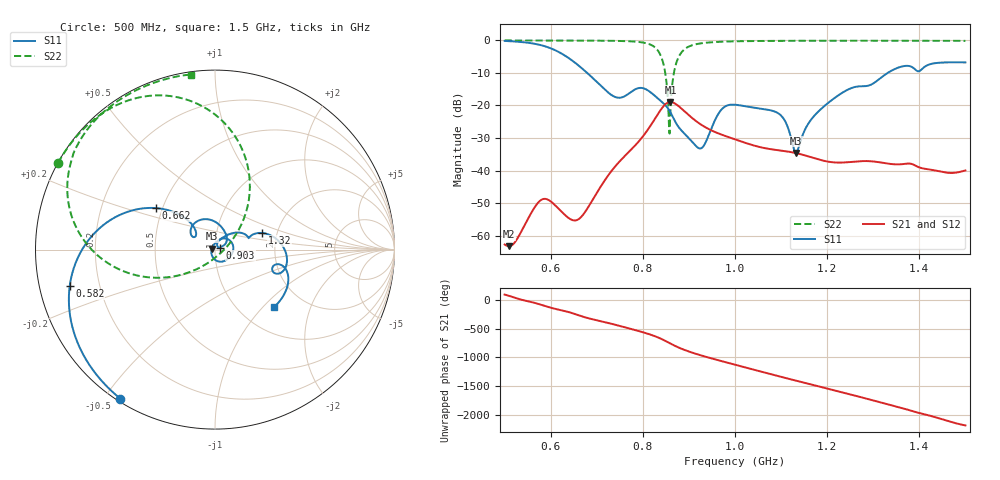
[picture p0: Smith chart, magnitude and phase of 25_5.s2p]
! TOUCHSTONE file generated by CST MICROWAVE STUDIO
! Date and time: Mon Oct 26 12:32:24 2020
! Project name: Scenario_1_Circular_Tissue_out_of_Line.cst
! Parameters = {dy1=70.184; L_HA=400; MT=2.54; Rad_Dielectric=30; Rad_Lower=7.3; Rad_Upper=30; a_HA=580; a_WG=246; b_HA=500; b_WG=121; c_HA=0; c_WG=187; d_feed=85; dx1=866; h_feed=15; h_lower=18; h_upper=40}
! Header version: 2018
! Port assignment regex: !\s*Touchstone port\s*([0-9]+)\s*=\s*(CST MWS port|CST DS port)\s*([0-9]+|Zmin|Zmax)\s*\(\"(.*)\"\)(\s*mode\s*([0-9]+))?.*
! Touchstone port assignment:
! Touchstone port 1 = CST MWS port 1 ("")
! Touchstone port 2 = CST MWS port 2 ("")
# GHz S DB R 50
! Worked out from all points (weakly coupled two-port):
!   1001 points, 500 MHz to 1.5 GHz, reference 50 ohm
!   highest |S21| = -18.94 dB at 860 MHz (marker M1); lowest = -63.3 dB at 509 MHz (marker M2)
!   lowest |S11| = -34.6 dB at 1.132 GHz (marker M3), VSWR 1.04, Z = 48.2 + j0.502 ohm
!   |S11| at or under -10 dB: 679.3 MHz to 1.331 GHz (652 MHz wide, 64.9 % of centre)
!   |S22| runs from -28.6 to 0.0 dB; largest |S21 - S12| = 6.2e-06
!   S11 on the Smith chart (normalised r, x): 500 MHz: 0.01, -0.55; 582 MHz: 0.09, -0.12; 662 MHz: 0.46, +0.25; 903 MHz: 1.06, +0.02; 1.32 GHz: 1.67, +0.33; 1.5 GHz: 1.42, -1.16
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0.5  -0.14 -122.4  -62.74 98.7  -62.74 98.7  -0.01 151.1
0.509  -0.21 -126.3  -63.26 77.2  -63.26 77.2  -0.01 150.6
0.582  -1.57 -165.8  -48.84 -87.4  -48.85 -87.3  -0.02 145.5
0.662  -7.89 145.0  -54.82 93.2  -54.81 93.1  -0.04 138.9
0.667  -8.48 142.8  -54.15 80.0  -54.14 79.8  -0.04 138.4
0.739  -17.34 140.5  -38.90 -66.5  -38.90 -66.5  -0.13 129.5
0.779  -15.40 143.5  -32.95 -151.9  -32.95 -151.9  -0.33 120.7
0.834  -18.00 70.8  -22.36 65.9  -22.36 65.9  -3.39 83.0
0.848  -19.80 52.4  -19.74 12.9  -19.74 12.9  -9.48 55.8
0.855  -20.98 42.0  -19.07 -16.6  -19.07 -16.6  -19.85 27.0
0.86  -22.13 34.7  -18.94 -37.9  -18.94 -37.9  -21.14 -119.1
0.874  -25.88 25.2  -19.80 -93.5  -19.80 -93.5  -6.33 -163.5
0.903  -30.57 22.8  -23.38 175.2  -23.38 175.2  -1.68 166.4
0.928  -33.05 49.8  -26.03 111.8  -26.03 111.8  -0.86 155.0
0.968  -21.71 49.3  -28.81 22.1  -28.81 22.1  -0.40 145.4
1  -19.77 4.9  -30.42 -46.5  -30.42 -46.5  -0.27 140.3
1.096  -22.61 -65.7  -33.80 109.7  -33.80 109.7  -0.13 130.1
1.132  -34.64 163.7  -34.63 35.3  -34.63 35.3  -0.11 127.0
1.167  -24.01 64.4  -36.00 -35.9  -36.00 -35.9  -0.10 124.2
1.32  -11.12 19.5  -37.61 6.3  -37.61 6.3  -0.09 112.6
1.334  -9.75 13.6  -37.92 -23.6  -37.92 -23.6  -0.09 111.5
1.5  -6.75 -44.5  -39.96 -27.6  -39.96 -27.6  -0.13 97.9
